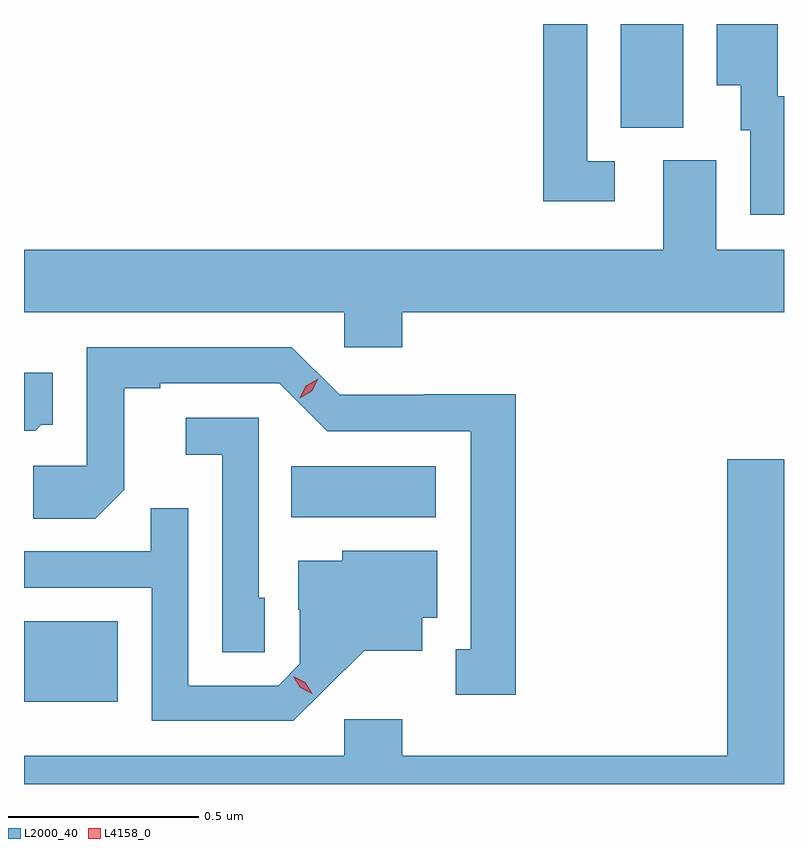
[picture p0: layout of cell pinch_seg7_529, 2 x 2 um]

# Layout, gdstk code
import gdstk
lib = gdstk.Library(unit=1e-6, precision=1e-09)
def R(c, l, rs):  # rectangles x0, y0, x1, y1
    for r in rs: c.add(gdstk.rectangle(r[:2], r[2:], *l))
def P(c, l, *ps):  # polygons
    for p in ps: c.add(gdstk.Polygon(p, *l))
L2000_40 = (2000, 40)
L4158_0 = (4158, 0)

pinch_seg7_529 = lib.new_cell('pinch_seg7_529')
R(pinch_seg7_529, L2000_40, [(122.013,1074.182,122.26,1074.394), (122.716,1074.668,123.097,1074.802), (123.584,1075.693,123.748,1075.966)])
P(pinch_seg7_529, L2000_40, [(123.568,1075.605),(123.495,1075.605),(123.495,1075.966),(123.379,1075.966),(123.379,1075.5),(123.568,1075.5)],
  [(124.013,1075.776),(123.997,1075.776),(123.997,1075.966),(123.836,1075.966),(123.836,1075.805),(123.899,1075.805),(123.899,1075.686),(123.924,1075.686),(123.924,1075.464),(124.013,1075.464)],
  [(123.008,1075.208),(124.013,1075.208),(124.013,1075.372),(123.835,1075.372),(123.835,1075.608),(123.695,1075.608),(123.695,1075.372),(122.013,1075.372),(122.013,1075.208),(122.856,1075.208),(122.856,1075.115),(123.008,1075.115)],
  [(123.307,1074.992),(123.066,1074.992),(123.066,1074.99),(122.844,1074.99),(122.718,1075.116),(122.178,1075.116),(122.178,1074.804),(122.037,1074.804),(122.037,1074.664),(122.201,1074.664),(122.277,1074.74),(122.277,1075.008),(122.371,1075.008),(122.371,1075.02),(122.685,1075.02),(122.811,1074.894),(123.188,1074.894),(123.188,1074.321),(123.149,1074.321),(123.149,1074.201),(123.307,1074.201)],
  [(122.058,1074.912),(122.089,1074.912),(122.089,1075.048),(122.013,1075.048),(122.013,1074.896),(122.042,1074.896)],
  [(122.646,1074.456),(122.631,1074.456),(122.631,1074.93),(122.439,1074.93),(122.439,1074.833),(122.535,1074.833),(122.535,1074.313),(122.646,1074.313)],
  [(124.013,1074.82),(123.863,1074.82),(123.863,1074.04),(123.008,1074.04),(123.008,1074.136),(122.856,1074.136),(122.856,1074.04),(122.013,1074.04),(122.013,1073.966),(124.013,1073.966)],
  [(122.806,1074.215),(122.909,1074.317),(123.061,1074.317),(123.061,1074.404),(123.1,1074.404),(123.1,1074.58),(122.85,1074.58),(122.85,1074.553),(122.735,1074.553),(122.735,1074.424),(122.739,1074.424),(122.739,1074.282),(122.682,1074.225),(122.445,1074.225),(122.445,1074.692),(122.347,1074.692),(122.347,1074.579),(122.013,1074.579),(122.013,1074.483),(122.349,1074.483),(122.349,1074.132),(122.722,1074.132)])
P(pinch_seg7_529, L4158_0, [(122.738,1074.981),(122.738,1074.981),(122.755,1075.014),(122.787,1075.032),(122.787,1075.032),(122.787,1075.032),(122.77,1075),(122.738,1074.981)],
  [(122.771,1074.204),(122.74,1074.219),(122.722,1074.249),(122.722,1074.249),(122.722,1074.249),(122.753,1074.234),(122.771,1074.204),(122.771,1074.204)])

lib.write_gds('pinch_seg7_529.gds')
